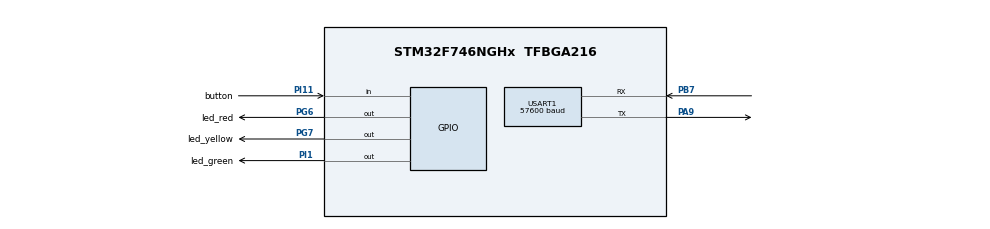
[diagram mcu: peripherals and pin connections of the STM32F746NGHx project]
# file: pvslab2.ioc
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Mcu.Family=STM32F7
Mcu.Name=STM32F746NGHx
Mcu.Package=TFBGA216
NVIC.PriorityGroup=NVIC_PRIORITYGROUP_4
NVIC.USART1_IRQn=true\:0\:0\:false\:false\:true\:true\:true\:true
PA9.Mode=Asynchronous
PA9.Signal=USART1_TX
PB7.Mode=Asynchronous
PB7.Signal=USART1_RX
PG6.GPIO_Label=led_red
PG6.Signal=GPIO_Output
PG7.GPIO_Label=led_yellow
PG7.Signal=GPIO_Output
PI1.GPIO_Label=led_green
PI1.Signal=GPIO_Output
PI11.GPIO_Label=button
PI11.Signal=GPIO_Input
ProjectManager.HeapSize=0x200
ProjectManager.StackSize=0x400
ProjectManager.TargetToolchain=CMake
RCC.HSE_VALUE=25000000
RCC.HSI_VALUE=16000000
RCC.LSE_VALUE=32768
RCC.USBFreq_Value=96000000
RCC.VCOOutputFreq_Value=192000000
USART1.BaudRate=57600
USART1.VirtualMode-Asynchronous=VM_ASYNC
board=custom

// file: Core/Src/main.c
/* USER CODE BEGIN Header */
/**
 ******************************************************************************
 * @file           : main.c
 * @brief          : Main program body
 ******************************************************************************
 * @attention
 *
 * Copyright (c) 2026 STMicroelectronics.
 * All rights reserved.
 *
 * This software is licensed under terms that can be found in the LICENSE file
 * in the root directory of this software component.
 * If no LICENSE file comes with this software, it is provided AS-IS.
 *
 ******************************************************************************
 */
/* USER CODE END Header */
#include "main.h"
#include "gpio.h"
#include "usart.h"

/* USER CODE BEGIN Includes */
#include "button.h"
#include "command_parser.h"
#include "traffic_light.h"
#include "uart_driver.h"
#include <stdbool.h>

/* USER CODE END Includes */

void SystemClock_Config(void);

int main(void) {

  /* MCU Configuration--------------------------------------------------------*/

  /* Reset of all peripherals, Initializes the Flash interface and the Systick.
   */
  HAL_Init();

  /* Configure the system clock */
  SystemClock_Config();

  /* Initialize all configured peripherals */
  MX_GPIO_Init();
  MX_USART1_UART_Init();
  /* USER CODE BEGIN 2 */
  uart_init();
  traffic_light_init(HAL_GetTick());

  const char message[] = "UART ready!\r\n";

  for (size_t i = 0; i < sizeof(message) - 1; i++) {
    uart_write_byte(message[i]);
  }

  /* USER CODE END 2 */

  /* Infinite loop */
  while (1) {

    /* USER CODE BEGIN 3 */
    uint32_t now = HAL_GetTick();

    bool pressed_event = button_update(now);
    traffic_light_update(now, pressed_event);
    command_parser_update();
    /* USER CODE END 3 */
  }
}

void SystemClock_Config(void) {
  RCC_OscInitTypeDef RCC_OscInitStruct = {0};
  RCC_ClkInitTypeDef RCC_ClkInitStruct = {0};

  /** Configure the main internal regulator output voltage
   */
  __HAL_RCC_PWR_CLK_ENABLE();
  __HAL_PWR_VOLTAGESCALING_CONFIG(PWR_REGULATOR_VOLTAGE_SCALE3);

  /** Initializes the RCC Oscillators according to the specified parameters
   * in the RCC_OscInitTypeDef structure.
   */
  RCC_OscInitStruct.OscillatorType = RCC_OSCILLATORTYPE_HSI;
  RCC_OscInitStruct.HSIState = RCC_HSI_ON;
  RCC_OscInitStruct.HSICalibrationValue = RCC_HSICALIBRATION_DEFAULT;
  RCC_OscInitStruct.PLL.PLLState = RCC_PLL_NONE;
  if (HAL_RCC_OscConfig(&RCC_OscInitStruct) != HAL_OK) {
    Error_Handler();
  }

  /** Initializes the CPU, AHB and APB buses clocks
   */
  RCC_ClkInitStruct.ClockType = RCC_CLOCKTYPE_HCLK | RCC_CLOCKTYPE_SYSCLK |
                                RCC_CLOCKTYPE_PCLK1 | RCC_CLOCKTYPE_PCLK2;
  RCC_ClkInitStruct.SYSCLKSource = RCC_SYSCLKSOURCE_HSI;
  RCC_ClkInitStruct.AHBCLKDivider = RCC_SYSCLK_DIV1;
  RCC_ClkInitStruct.APB1CLKDivider = RCC_HCLK_DIV1;
  RCC_ClkInitStruct.APB2CLKDivider = RCC_HCLK_DIV1;

  if (HAL_RCC_ClockConfig(&RCC_ClkInitStruct, FLASH_LATENCY_0) != HAL_OK) {
    Error_Handler();
  }
}

void Error_Handler(void) {
  /* USER CODE BEGIN Error_Handler_Debug */
  /* User can add his own implementation to report the HAL error return state
   */
  __disable_irq();
  while (1) {
  }
  /* USER CODE END Error_Handler_Debug */
}
#ifdef USE_FULL_ASSERT
/**
 * @brief  Reports the name of the source file and the source line number
 *         where the assert_param error has occurred.
 * @param  file: pointer to the source file name
 * @param  line: assert_param error line source number
 * @retval None
 */
void assert_failed(uint8_t *file, uint32_t line) {
  /* USER CODE BEGIN 6 */
  /* User can add his own implementation to report the file name and line
     number, ex: printf("Wrong parameters value: file %s on line %d\r\n",
     file, line) */
  /* USER CODE END 6 */
}
#endif /* USE_FULL_ASSERT */
